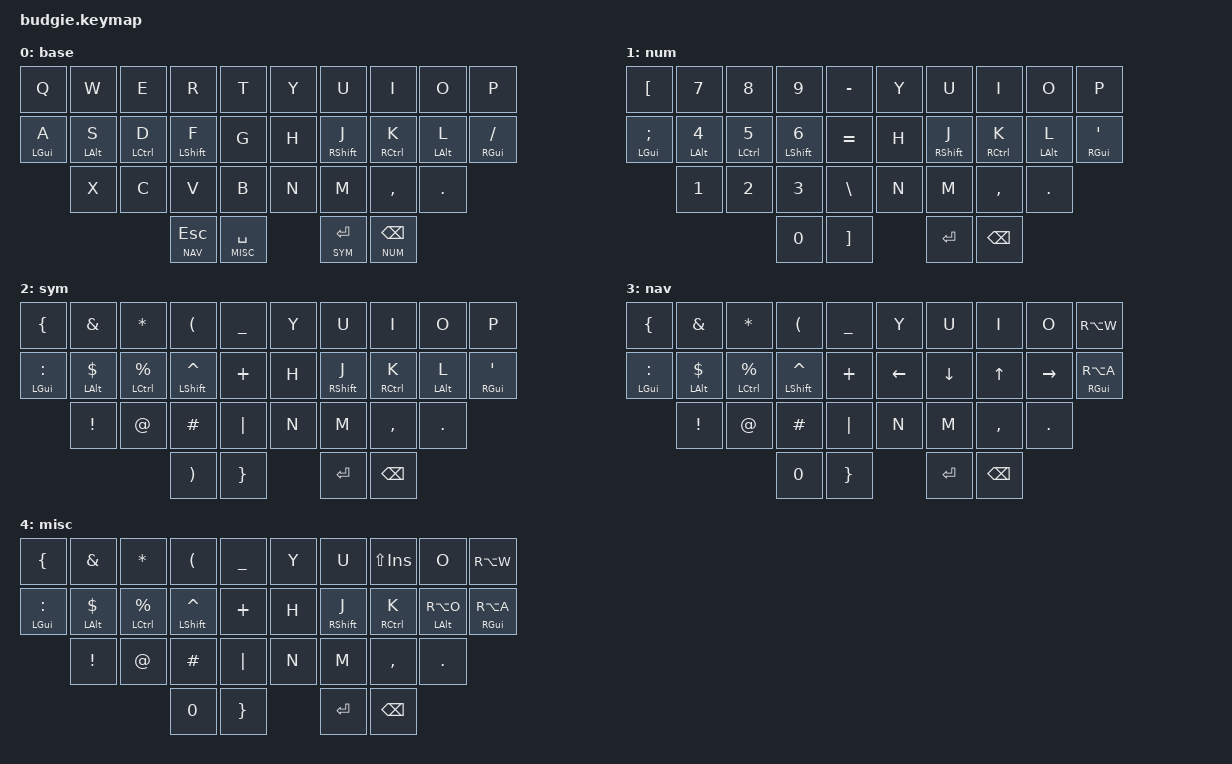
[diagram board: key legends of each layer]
/*
 * Copyright (c) 2022 The ZMK Contributors
 *
 * SPDX-License-Identifier: MIT
 */

#include <behaviors.dtsi>
#include <dt-bindings/zmk/keys.h>

#define BASE 0
#define NUM 1
#define SYM 2
#define NAV 3
#define MISC 4

// Using layer taps on thumbs, having quick tap as well helps w/ repeating space/backspace
&lt { quick-tap-ms = <200>; };

/ {
    behaviors {
        hm: homerow_mods {
            compatible = "zmk,behavior-hold-tap";
            #binding-cells = <2>;
            tapping-term-ms = <225>;
			quick-tap-ms = <150>;
            flavor = "tap-preferred";
            bindings = <&kp>, <&kp>;
        };
    };

	combos {
			compatible = "zmk,combos";
			sqt {
				// H+J
				key-positions = <16 17>;
				bindings = <&kp SQT>;
			};
			tab {
				// F+G
				key-positions = <12 13>;
				bindings = <&kp TAB>;
			};
			z {
				// X+C
				key-positions = <20 21>;
				bindings = <&kp Z>;
				layers = <BASE>;
			};
			grave {
				// X+C
				key-positions = <20 21>;
				bindings = <&kp GRAVE>;
				layers = <NUM>;
			};
			tilde {
				// X+C
				key-positions = <20 21>;
				bindings = <&kp TILDE>;
				layers = <SYM>;
			};
			capsword {
				// SPACE + RET
				key-positions = <29 30>;
				bindings = <&caps_word>;
			};
			delete {
				// RET + BACKSPACE
				key-positions = <30 31>;
				bindings = <&kp DEL>;
			};
	};


    keymap {
        compatible = "zmk,keymap";
        base {
            bindings = <
                &kp Q      &kp W      &kp E       &kp R           &kp T        &kp Y            &kp U          &kp I       &kp O      &kp P
                &hm LGUI A &hm LALT S &hm LCTRL D &hm LSHFT F     &kp G        &kp H            &hm RSHFT J    &hm RCTRL K &hm LALT L &hm RGUI FSLH
                           &kp X      &kp C       &kp V           &kp B        &kp N            &kp M          &kp COMMA  &kp DOT
                                                  &lt NAV ESC  	  &lt MISC SPACE    &lt SYM RET  		&lt NUM BSPC
            >;
        };


        num {
            bindings = <
                &kp LBKT      &kp N7      &kp N8       &kp N9           &kp MINUS        &kp Y            &kp U          &kp I       &kp O      &kp P
                &hm LGUI SEMI &hm LALT N4 &hm LCTRL N5 &hm LSHFT N6     &kp EQL          &kp H            &hm RSHFT J    &hm RCTRL K &hm LALT L &hm RGUI SQT
                        	  &kp N1      &kp N2       &kp N3           &kp BSLH         &kp N            &kp M          &kp COMMA  &kp DOT
                                                  &kp N0   &kp RBKT      		&kp RET  &kp BSPC
            >;
        };

        sym {
            bindings = <
                &kp LBRC       &kp AMPS      &kp ASTRK       &kp LPAR            &kp UNDER       &kp Y            &kp U          &kp I       &kp O      &kp P
                &hm LGUI COLON &hm LALT DLLR &hm LCTRL PRCNT &hm LSHFT CARET     &kp PLUS        &kp H            &hm RSHFT J    &hm RCTRL K &hm LALT L &hm RGUI SQT
                           	   &kp EXCL      &kp AT          &kp HASH            &kp PIPE        &kp N            &kp M          &kp COMMA  &kp DOT
                                                  		&kp RPAR  &kp RBRC      		&kp RET  &kp BSPC
            >;
        };

        nav {
            bindings = <
                &kp LBRC       &kp AMPS      &kp ASTRK       &kp LPAR            &kp UNDER       &kp Y            &kp U          &kp I       &kp O      &kp RA(W)
                &hm LGUI COLON &hm LALT DLLR &hm LCTRL PRCNT &hm LSHFT CARET     &kp PLUS        &kp LEFT         &kp DOWN       &kp UP 	 &kp RIGHT 	&hm RGUI RA(A)
                           	   &kp EXCL      &kp AT          &kp HASH            &kp PIPE        &kp N            &kp M          &kp COMMA  &kp DOT
                                                  		&kp N0   &kp RBRC      		&kp RET  &kp BSPC
            >;
        };

        misc {
            bindings = <
                &kp LBRC       &kp AMPS      &kp ASTRK       &kp LPAR            &kp UNDER       &kp Y            &kp U          &kp LS(INS)       &kp O      &kp RA(W)
                &hm LGUI COLON &hm LALT DLLR &hm LCTRL PRCNT &hm LSHFT CARET     &kp PLUS        &kp H            &hm RSHFT J    &hm RCTRL K &hm LALT RA(O) &hm RGUI RA(A)
                           	   &kp EXCL      &kp AT          &kp HASH            &kp PIPE        &kp N            &kp M          &kp COMMA  &kp DOT
                                                  		&kp N0   &kp RBRC      		&kp RET  &kp BSPC
            >;
        };

    };
};
